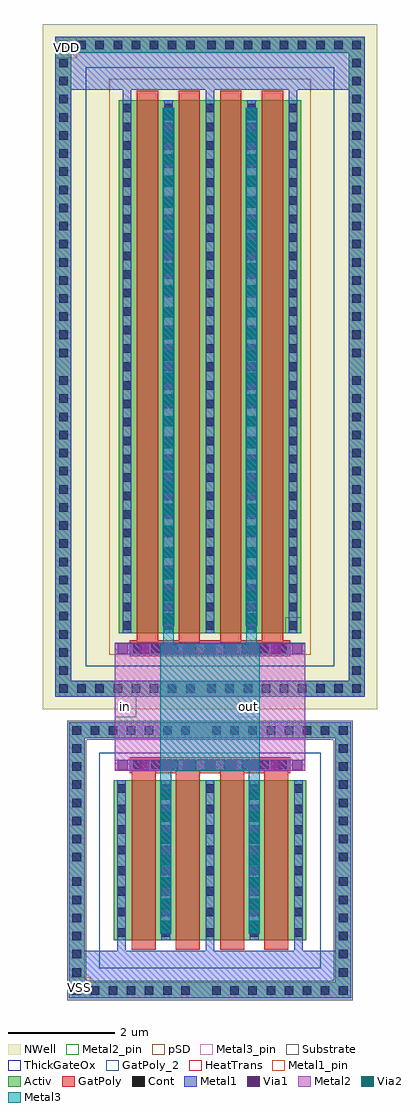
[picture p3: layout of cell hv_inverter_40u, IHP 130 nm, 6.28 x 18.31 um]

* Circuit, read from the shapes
.subckt hv_inverter_40u VDD VSS in out
XM1 out in VSS VSS sg13_hv_nmos w=3u l=0.45u m=4
XM2 out in VDD VDD sg13_hv_pmos w=10u l=0.4u m=4
.ends

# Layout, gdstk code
from math import pi, radians
import gdstk
lib = gdstk.Library(unit=1e-6, precision=1e-09)
def R(c, l, rs):  # rectangles x0, y0, x1, y1
    for r in rs: c.add(gdstk.rectangle(r[:2], r[2:], *l))
def A(c, l, x, y, w, h, nx, ny, dx, dy):  # array of equal rectangles
    R(c, l, [(x+i*dx, y+j*dy, x+i*dx+w, y+j*dy+h) for i in range(nx) for j in range(ny)])
def P(c, l, *ps):  # polygons
    for p in ps: c.add(gdstk.Polygon(p, *l))
Activ = (1, 0)
GatPoly = (5, 0)
GatPoly_2 = (5, 2)
Cont = (6, 0)
Metal1 = (8, 0)
Metal1_pin = (8, 2)
Metal2 = (10, 0)
Metal2_pin = (10, 2)
pSD = (14, 0)
Via1 = (19, 0)
Via2 = (29, 0)
Metal3 = (30, 0)
Metal3_pin = (30, 2)
NWell = (31, 0)
Substrate = (40, 0)
ThickGateOx = (44, 0)
HeatTrans = (51, 0)

via_stack_2_3 = lib.new_cell('via_stack$2$3')
R(via_stack_2_3, Metal1, [(-0.105,-1.375,0.105,1.375)])
R(via_stack_2_3, Metal2, [(-0.1,-1.375,0.1,1.375)])
A(via_stack_2_3, Via1, -0.095, -1.325, 0.19, 0.19, 1, 7, 0, 0.41)
A(via_stack_2_3, Via2, -0.095, -1.325, 0.19, 0.19, 1, 7, 0, 0.41)
R(via_stack_2_3, Metal3, [(-0.1,-1.375,0.1,1.375)])

nmoshv_2 = lib.new_cell('nmosHV$2')
A(nmoshv_2, Activ, 0, 0, 0.3, 0.3, 5, 1, 0.83, 0)
R(nmoshv_2, Activ, [(-0.84,-0.79,-0.54,3.79), (4.16,-0.79,4.46,3.79), (0,0,3.62,3), (-0.84,3.79,4.46,4.09)])
P(nmoshv_2, Activ, [(-0.84,-1.09),(-0.84,3.79),(-0.54,3.79),(-0.54,-0.79),(4.16,-0.79),(4.16,3.79),(-0.84,3.79),(-0.84,4.09),(4.46,4.09),(4.46,-1.09)])
A(nmoshv_2, GatPoly, 0.34, -0.18, 0.45, 3.36, 4, 1, 0.83, 0)
R(nmoshv_2, GatPoly_2, [(0.34,-0.18,0.79,3.18)])
A(nmoshv_2, Cont, -0.77, -1.02, 0.16, 0.16, 7, 2, 0.34, 4.88)
A(nmoshv_2, Cont, 1.85, -1.02, 0.16, 0.16, 8, 2, 0.34, 4.88)
A(nmoshv_2, Cont, -0.77, -0.68, 0.16, 0.16, 1, 6, 0, 0.34)
A(nmoshv_2, Cont, 4.23, -0.68, 0.16, 0.16, 1, 6, 0, 0.34)
A(nmoshv_2, Cont, 0.07, 0.07, 0.16, 0.16, 5, 7, 0.83, 0.385)
A(nmoshv_2, Cont, -0.77, 1.48, 0.16, 0.16, 1, 7, 0, 0.34)
A(nmoshv_2, Cont, 4.23, 1.48, 0.16, 0.16, 1, 7, 0, 0.34)
A(nmoshv_2, Cont, 0.07, 2.77, 0.16, 0.16, 5, 1, 0.83, 0)
A(nmoshv_2, Metal1, 0.07, 0, 0.16, 3, 5, 1, 0.83, 0)
R(nmoshv_2, Metal1, [(-0.84,-1.09,4.46,-0.79), (-0.84,-0.79,-0.54,3.79), (4.16,-0.79,4.46,3.79), (-0.84,3.79,4.46,4.09)])
R(nmoshv_2, Metal1_pin, [(0.07,0,0.23,3), (0.9,0,1.06,3)])
R(nmoshv_2, pSD, [(-0.87,-0.76,-0.51,3.76), (4.13,-0.76,4.49,3.76), (-0.87,3.76,4.49,4.12)])
P(nmoshv_2, pSD, [(-0.87,-1.12),(-0.87,3.76),(-0.51,3.76),(-0.51,-0.76),(4.13,-0.76),(4.13,3.76),(-0.87,3.76),(-0.87,4.12),(4.49,4.12),(4.49,-1.12)])
R(nmoshv_2, Substrate, [(-0.87,-0.76,-0.51,3.76), (4.13,-0.76,4.49,3.76), (-0.87,3.76,4.49,4.12)])
P(nmoshv_2, Substrate, [(-0.87,-1.12),(-0.87,3.76),(-0.51,3.76),(-0.51,-0.76),(4.13,-0.76),(4.13,3.76),(-0.87,3.76),(-0.87,4.12),(4.49,4.12),(4.49,-1.12)])
R(nmoshv_2, ThickGateOx, [(-0.27,-0.52,3.89,3.52)])
A(nmoshv_2, HeatTrans, 0.34, -0.18, 0.45, 3.36, 4, 1, 0.83, 0)
nmoshv_2.add(gdstk.Label('nmosHV', (0.565,1.5), layer=63, texttype=0))
nmoshv_2.add(gdstk.Label('sub!', (1.81,-0.94), layer=63, texttype=0))
nmoshv_2.add(gdstk.Label('nmosHV', (0.565,1.5), layer=51, texttype=0))
nmoshv_2.add(gdstk.Label('nmosHV', (1.395,1.5), layer=51, texttype=0))
nmoshv_2.add(gdstk.Label('nmosHV', (2.225,1.5), layer=51, texttype=0))
nmoshv_2.add(gdstk.Label('nmosHV', (3.055,1.5), layer=51, texttype=0))

via_stack_6_1 = lib.new_cell('via_stack$6$1')
R(via_stack_6_1, Metal1, [(-0.105,-4.86,0.105,4.86)])
R(via_stack_6_1, Metal2, [(-0.1,-4.86,0.1,4.86)])
A(via_stack_6_1, Via1, -0.095, -4.81, 0.19, 0.19, 1, 24, 0, 0.41)
A(via_stack_6_1, Via2, -0.095, -4.81, 0.19, 0.19, 1, 24, 0, 0.41)
R(via_stack_6_1, Metal3, [(-0.1,-4.86,0.1,4.86)])

via_stack_8 = lib.new_cell('via_stack$8')
R(via_stack_8, GatPoly, [(-0.15,-1.51,0.15,1.51)])
A(via_stack_8, Cont, -0.08, -1.44, 0.16, 0.16, 1, 9, 0, 0.34)
R(via_stack_8, Metal1, [(-0.105,-1.785,0.105,1.785)])
R(via_stack_8, Metal2, [(-0.1,-1.785,0.1,1.785)])
A(via_stack_8, Via1, -0.095, -1.735, 0.19, 0.19, 1, 9, 0, 0.41)

pmoshv_2 = lib.new_cell('pmosHV$2')
A(pmoshv_2, Activ, 0, 0, 0.3, 0.3, 5, 1, 0.78, 0)
R(pmoshv_2, Activ, [(-1.19,-0.89,-0.89,10.89), (4.31,-0.89,4.61,10.89), (0,0,3.42,10), (-1.19,10.89,4.61,11.19)])
P(pmoshv_2, Activ, [(-1.19,-1.19),(-1.19,10.89),(-0.89,10.89),(-0.89,-0.89),(4.31,-0.89),(4.31,10.89),(-1.19,10.89),(-1.19,11.19),(4.61,11.19),(4.61,-1.19)])
A(pmoshv_2, GatPoly, 0.34, -0.18, 0.4, 10.36, 4, 1, 0.78, 0)
R(pmoshv_2, GatPoly_2, [(0.34,-0.18,0.74,10.18)])
A(pmoshv_2, Cont, -1.12, -1.12, 0.16, 0.16, 8, 2, 0.34, 12.08)
A(pmoshv_2, Cont, 1.66, -1.12, 0.16, 0.16, 9, 2, 0.34, 12.08)
A(pmoshv_2, Cont, -1.12, -0.78, 0.16, 0.16, 1, 17, 0, 0.34)
A(pmoshv_2, Cont, 4.38, -0.78, 0.16, 0.16, 1, 17, 0, 0.34)
A(pmoshv_2, Cont, 0.07, 0.07, 0.16, 0.16, 5, 4, 0.78, 0.345)
A(pmoshv_2, Cont, 0.07, 1.455, 0.16, 0.16, 5, 3, 0.78, 0.345)
A(pmoshv_2, Cont, 0.07, 2.495, 0.16, 0.16, 5, 4, 0.78, 0.345)
A(pmoshv_2, Cont, 0.07, 3.88, 0.16, 0.16, 5, 3, 0.78, 0.345)
A(pmoshv_2, Cont, 0.07, 4.92, 0.16, 0.16, 5, 4, 0.78, 0.345)
A(pmoshv_2, Cont, -1.12, 5.18, 0.16, 0.16, 1, 17, 0, 0.34)
A(pmoshv_2, Cont, 4.38, 5.18, 0.16, 0.16, 1, 17, 0, 0.34)
A(pmoshv_2, Cont, 0.07, 6.305, 0.16, 0.16, 5, 3, 0.78, 0.345)
A(pmoshv_2, Cont, 0.07, 7.345, 0.16, 0.16, 5, 4, 0.78, 0.345)
A(pmoshv_2, Cont, 0.07, 8.73, 0.16, 0.16, 5, 3, 0.78, 0.345)
A(pmoshv_2, Cont, 0.07, 9.77, 0.16, 0.16, 5, 1, 0.78, 0)
A(pmoshv_2, Metal1, 0.07, 0, 0.16, 10, 5, 1, 0.78, 0)
R(pmoshv_2, Metal1, [(-1.19,-1.19,4.61,-0.89), (-1.19,-0.89,-0.89,10.89), (4.31,-0.89,4.61,10.89), (-1.19,10.89,4.61,11.19)])
R(pmoshv_2, Metal1_pin, [(0.07,0,0.23,10), (0.85,0,1.01,10)])
R(pmoshv_2, pSD, [(-0.18,-0.4,3.6,10.4)])
R(pmoshv_2, NWell, [(-1.43,-1.43,4.85,11.43), (-0.62,-0.62,4.04,10.62)])
R(pmoshv_2, Substrate, [(3.12,0,3.42,0.3)])
R(pmoshv_2, ThickGateOx, [(-0.62,-0.62,4.04,10.62)])
A(pmoshv_2, HeatTrans, 0.34, -0.18, 0.4, 10.36, 4, 1, 0.78, 0)
pmoshv_2.add(gdstk.Label('pmosHV', (0.54,5), layer=63, texttype=0))
pmoshv_2.add(gdstk.Label('well', (1.71,-1.04), layer=63, texttype=0))
pmoshv_2.add(gdstk.Label('pmos', (0.54,5), layer=51, texttype=0))
pmoshv_2.add(gdstk.Label('pmos', (1.32,5), layer=51, texttype=0))
pmoshv_2.add(gdstk.Label('pmos', (2.1,5), layer=51, texttype=0))
pmoshv_2.add(gdstk.Label('pmos', (2.88,5), layer=51, texttype=0))

hv_inverter_40u = lib.new_cell('hv_inverter_40u')
A(hv_inverter_40u, Metal1, -1.74, -4.58, 0.16, 0.2, 3, 1, 1.66, 0)
A(hv_inverter_40u, Metal1, -1.64, 11.38, 0.16, 0.2, 3, 1, 1.56, 0)
R(hv_inverter_40u, Metal1, [(-2.35,-5.17,2.35,-4.58), (-2.6,11.58,2.6,12.27)])
R(hv_inverter_40u, Metal1_pin, [(-2.65,-5.47,-2.25,-5.07), (-2.9,12.17,-2.5,12.57)])
R(hv_inverter_40u, Metal2, [(-1.785,-1.195,1.785,1.195)])
R(hv_inverter_40u, Metal2_pin, [(-1.785,-0.2,-1.385,0.2)])
R(hv_inverter_40u, Metal3, [(-0.93,-1.195,0.93,1.195)])
R(hv_inverter_40u, Metal3_pin, [(0.53,-0.2,0.93,0.2)])
hv_inverter_40u.add(gdstk.FlexPath([(-0.83,-1.505),(-0.83,0),(-0.78,0),(-0.78,1.52)], 0.2, ends="flush", simple_path=True, layer=30, datatype=0))  # Metal3
hv_inverter_40u.add(gdstk.FlexPath([(0.83,-1.505),(0.83,0),(0.78,0),(0.78,1.52)], 0.2, ends="flush", simple_path=True, layer=30, datatype=0))  # Metal3
hv_inverter_40u.add(gdstk.Reference(via_stack_2_3, (-0.83,-2.88)))
hv_inverter_40u.add(gdstk.Reference(nmoshv_2, (-1.81,-4.38)))
hv_inverter_40u.add(gdstk.Reference(via_stack_2_3, (0.83,-2.88)))
hv_inverter_40u.add(gdstk.Reference(via_stack_6_1, (0.78,6.38), rotation=pi))
hv_inverter_40u.add(gdstk.Reference(via_stack_6_1, (-0.78,6.38), rotation=pi))
hv_inverter_40u.add(gdstk.Reference(via_stack_8, (0,-1.095), rotation=pi/2))
hv_inverter_40u.add(gdstk.Reference(via_stack_8, (0,1.095), rotation=pi/2))
hv_inverter_40u.add(gdstk.Reference(pmoshv_2, (-1.71,1.38)))
hv_inverter_40u.add(gdstk.Label('VSS', (-2.45,-5.27), layer=8, texttype=25))
hv_inverter_40u.add(gdstk.Label('VDD', (-2.7,12.37), layer=8, texttype=25))
hv_inverter_40u.add(gdstk.Label('in', (-1.585,0), layer=10, texttype=25))
hv_inverter_40u.add(gdstk.Label('out', (0.73,0), layer=30, texttype=25))

lib.write_gds('hv_inverter_40u.gds')
